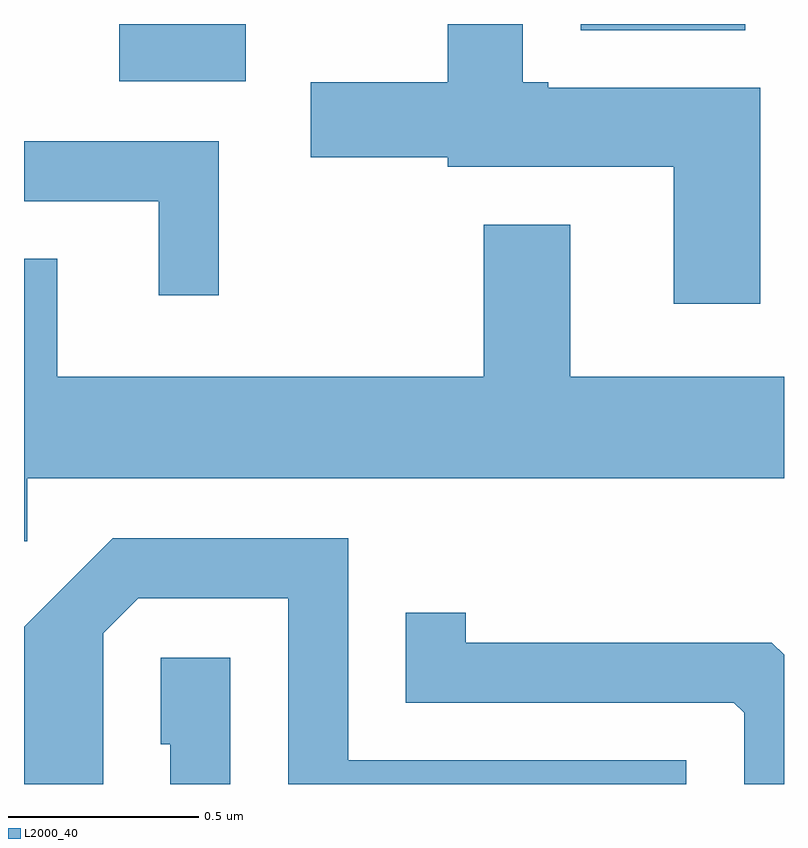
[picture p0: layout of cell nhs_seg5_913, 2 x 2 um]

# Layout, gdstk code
import gdstk
lib = gdstk.Library(unit=1e-6, precision=1e-09)
def R(c, l, rs):  # rectangles x0, y0, x1, y1
    for r in rs: c.add(gdstk.rectangle(r[:2], r[2:], *l))
def P(c, l, *ps):  # polygons
    for p in ps: c.add(gdstk.Polygon(p, *l))
L2000_40 = (2000, 40)

nhs_seg5_913 = lib.new_cell('nhs_seg5_913')
R(nhs_seg5_913, L2000_40, [(191.861,1488.921,192.194,1489.072), (193.076,1489.056,193.509,1489.072)])
P(nhs_seg5_913, L2000_40, [(193.549,1488.904),(192.99,1488.904),(192.99,1488.919),(192.924,1488.919),(192.924,1489.072),(192.726,1489.072),(192.726,1488.919),(192.366,1488.919),(192.366,1488.721),(192.726,1488.721),(192.726,1488.696),(193.321,1488.696),(193.321,1488.336),(193.549,1488.336)],
  [(192.124,1488.764),(191.611,1488.764),(191.611,1488.606),(191.966,1488.606),(191.966,1488.358),(192.124,1488.358)],
  [(191.619,1487.876),(193.611,1487.876),(193.611,1488.144),(193.049,1488.144),(193.049,1488.544),(192.821,1488.544),(192.821,1488.144),(191.699,1488.144),(191.699,1488.454),(191.611,1488.454),(191.611,1487.711),(191.619,1487.711)],
  [(191.819,1487.469),(191.912,1487.561),(192.306,1487.561),(192.306,1487.072),(193.354,1487.072),(193.354,1487.134),(192.464,1487.134),(192.464,1487.719),(191.844,1487.719),(191.611,1487.486),(191.611,1487.072),(191.819,1487.072)],
  [(193.611,1487.412),(193.579,1487.444),(192.774,1487.444),(192.774,1487.523),(192.616,1487.523),(192.616,1487.286),(193.479,1487.286),(193.506,1487.259),(193.506,1487.072),(193.611,1487.072)],
  [(192.154,1487.404),(191.971,1487.404),(191.971,1487.176),(191.996,1487.176),(191.996,1487.072),(192.154,1487.072)])

lib.write_gds('nhs_seg5_913.gds')
